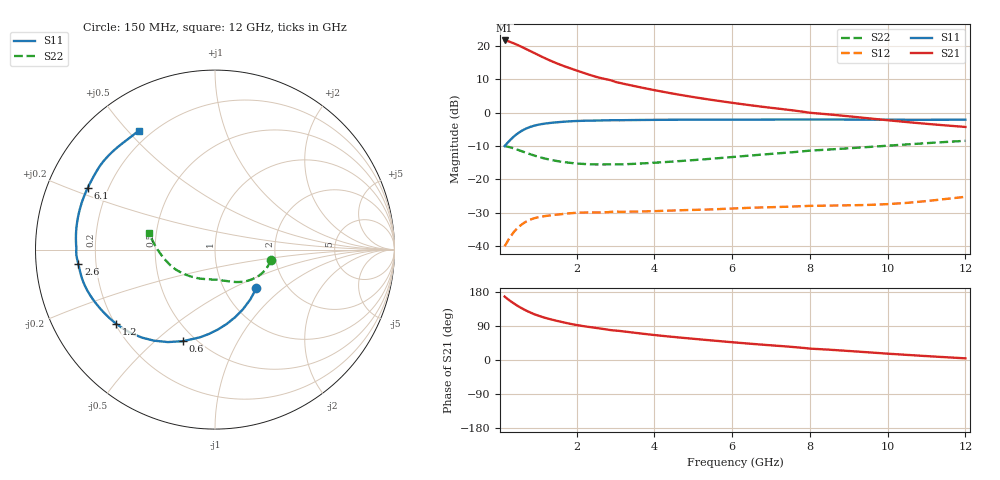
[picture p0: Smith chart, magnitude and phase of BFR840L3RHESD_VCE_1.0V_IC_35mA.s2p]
! Infineon Technologies  Discrete & RF Semiconductors
! BFR840L3RHESD
! VCE =  1.0 V,  IC =  35 mA
! Common Emitter S-Parameters:  Jun 2012
# GHz  S  MA  R  50
!  f  S11  S21  S12  S22
! GHz  MAG  ANG  MAG  ANG  MAG  ANG  MAG  ANG
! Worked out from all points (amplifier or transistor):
!   91 points, 150 MHz to 12 GHz, reference 50 ohm
!   highest |S21| = 21.7 dB at 150 MHz (marker M1)
!   |S21| within 3 dB of that: start of sweep to 776.8 MHz
!   unconditionally stable (mu >= 1): start of sweep to end of sweep
!   at 1.3 GHz: K = 1.34, MAG = 19.8 dB, |S12| = -30.9 dB
!   at 4.3 GHz: K = 2.65, MAG = 10.7 dB, |S12| = -29.4 dB
!   at 12 GHz: K = 5.05, MAG = 0.5 dB, |S12| = -25.3 dB
!   S11 on the Smith chart (normalised r, x): 150 MHz: 1.41, -0.68; 600 MHz: 0.43, -0.62; 1.2 GHz: 0.20, -0.32; 2.6 GHz: 0.13, -0.05; 6.1 GHz: 0.12, +0.23; 12 GHz: 0.15, +0.54
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0.15  0.316 -43.3  12.19 167.4  0.0099 34.2  0.3156 -10.7
0.25  0.3666 -64.7  11.8 159.3  0.0124 41.5  0.3073 -18.5
0.35  0.4193 -81.0  11.26 151.9  0.0151 41.7  0.2959 -25.3
0.45  0.4706 -94.0  10.64 145.1  0.0177 39.6  0.283 -31.4
0.6  0.5396 -109.1  9.69 136.0  0.0212 36.2  0.2632 -39.3
0.7  0.5783 -117.0  9.081 130.6  0.0231 34.3  0.2507 -44.0
0.9  0.6369 -129.6  7.958 121.4  0.0259 31.5  0.2288 -52.0
1  0.6581 -134.7  7.451 117.6  0.0268 30.4  0.2196 -55.4
1.2  0.689 -143.3  6.555 111.1  0.0281 28.4  0.2043 -61.3
1.4  0.7107 -150.1  5.815 105.7  0.0291 26.4  0.1927 -66.5
1.7  0.7349 -158.0  4.965 98.5  0.0304 23.7  0.1807 -73.5
1.9  0.7471 -162.3  4.519 94.2  0.0311 22.5  0.1753 -77.9
2.2  0.7582 -167.8  3.945 89.0  0.0317 22.2  0.1699 -83.7
2.6  0.7655 -173.9  3.349 83.2  0.0318 23.0  0.1671 -90.7
2.9  0.7729 -177.7  3.054 78.6  0.0325 22.1  0.1678 -95.8
3.2  0.7737 178.5  2.734 75.5  0.0325 22.6  0.1682 -100.9
4.2  0.7832 168.7  2.078 63.8  0.0336 24.2  0.1805 -116.4
5.1  0.7868 161.2  1.686 55.1  0.0348 26.3  0.1962 -128.8
6.1  0.788 154.0  1.386 46.1  0.0366 28.7  0.2185 -141.4
8.5  0.7917 138.9  0.943 27.2  0.0403 33.6  0.2803 -167.4
10.5  0.7839 128.8  0.724 13.5  0.0443 41.4  0.3345 176.1
12  0.7866 122.6  0.612 4.4  0.0546 43.9  0.379 165.8
